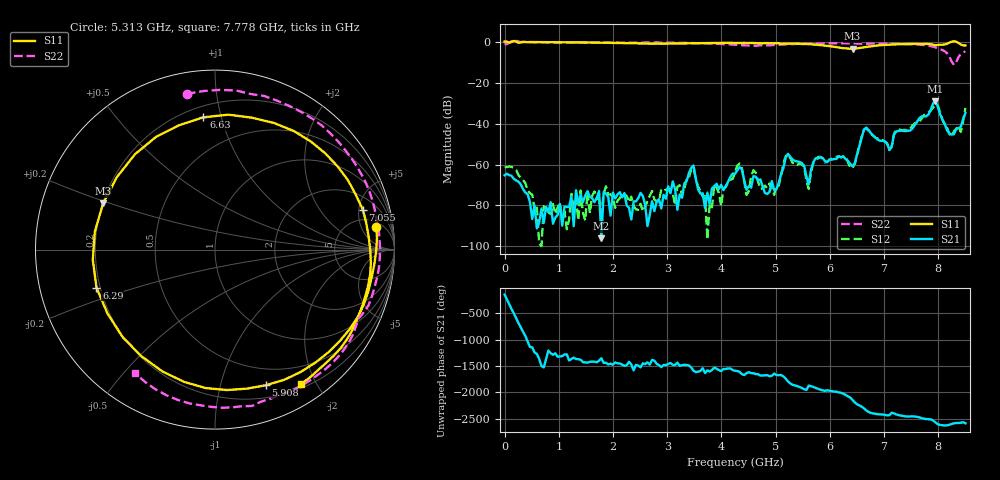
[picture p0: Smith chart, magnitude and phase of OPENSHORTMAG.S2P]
!Agilent Technologies,E5071C,MY46101104,A.08.01
!Date: Mon Jan 01 00:41:27 2001
!Data & Calibration Information:
!Freq	S11:SOLT2(ON)	S21:SOLT2(ON)	S12:SOLT2(ON)	S22:SOLT2(ON)
# Hz S dB R 50
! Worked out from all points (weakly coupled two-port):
!   201 points, 100 kHz to 8.5 GHz, reference 50 ohm
!   highest |S21| = -29.09 dB at 7.948 GHz (marker M1); lowest = -96.1 dB at 1.785 GHz (marker M2)
!   lowest |S11| = -3.4 dB at 6.418 GHz (marker M3), VSWR 5.14, Z = 10.1 + j9.52 ohm
!   |S11| at or under -10 dB: nowhere
!   |S22| runs from -11.3 to 0.7 dB; largest |S21 - S12| = 0.0076
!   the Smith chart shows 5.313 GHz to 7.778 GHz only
!   S11 on the Smith chart (normalised r, x): 5.313 GHz: 7, +10; 5.908 GHz: 0.32, -1.39; 6.29 GHz: 0.19, -0.15; 6.63 GHz: 0.27, +0.88; 7.055 GHz: 3.39, +5.53; 7.778 GHz: 0.25, -1.80
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100000  0.13 -5.0  -65.25 -146.2  -61.21 -39.0  -1.11 -178.6
6.80092e8  -0.14 -94.6  -81.52 -58.3  -99.91 -123.0  -0.22 82.4
1.445083e9  -0.31 165.5  -78.39 14.5  -83.59 46.3  -0.37 -36.6
1.785079e9  -0.42 120.1  -96.09 88.1  -83.57 24.7  -0.39 -87.7
2.422572e9  -0.73 21.0  -78.00 -37.0  -81.94 -36.8  -0.41 -171.0
2.847566e9  -0.87 -57.0  -76.90 -42.3  -78.13 -39.0  -0.40 142.0
3.485059e9  -0.69 -162.8  -60.51 -149.2  -61.89 -140.9  -0.62 73.9
3.697556e9  -0.62 169.1  -81.24 166.4  -75.43 -99.0  -0.75 48.8
4.25005e9  -0.56 108.1  -64.53 -149.8  -63.68 -130.5  -1.40 -33.3
4.845043e9  -0.65 52.4  -74.36 127.6  -71.63 102.6  -1.77 -171.5
5.312538e9  -0.84 8.1  -57.58 -55.7  -59.24 -62.0  -1.09 100.3
5.695033e9  -1.29 -36.1  -58.86 -94.9  -59.37 -92.4  -0.83 53.6
5.90753e9  -1.86 -69.4  -58.26 -170.4  -58.94 -167.5  -0.77 32.9
6.290026e9  -3.18 -162.3  -57.25 113.3  -56.16 113.3  -0.73 0.2
6.417524e9  -3.42 157.6  -60.82 18.2  -61.82 10.7  -0.75 -9.6
6.630022e9  -2.62 95.0  -42.88 -142.8  -42.92 -142.8  -1.05 -26.0
7.055017e9  -1.38 15.1  -49.58 87.2  -49.71 91.3  -0.93 -57.4
7.097516e9  -1.36 10.0  -52.77 90.5  -52.90 92.3  -0.97 -60.5
7.777508e9  -1.03 -57.4  -36.42 16.7  -34.91 16.6  -1.71 -123.1
7.947506e9  -1.66 -68.2  -29.09 -47.6  -30.55 -40.4  -2.72 -149.0
8.245003e9  0.04 -84.5  -45.30 -77.3  -46.31 -77.8  -9.57 112.8
8.5e9  -1.76 -112.2  -34.74 -64.0  -32.28 -51.6  -4.65 -31.7
